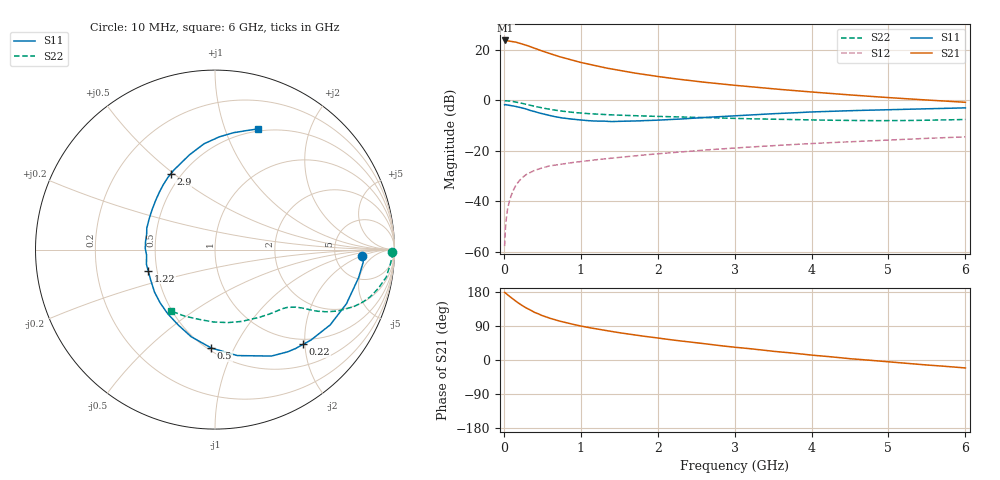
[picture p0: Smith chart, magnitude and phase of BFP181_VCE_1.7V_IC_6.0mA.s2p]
! Infineon Technologies  Discrete & RF Semiconductors
! BFP181
! VCE = 1.7 V,  IC =  6.0 mA
! Common Emitter S-Parameters:  Jan 2016
# GHz  S  MA  R  50
!  f  S11  S21  S12  S22
! GHz  MAG  ANG  MAG  ANG  MAG  ANG  MAG  ANG
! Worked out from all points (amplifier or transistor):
!   210 points, 10 MHz to 6 GHz, reference 50 ohm
!   highest |S21| = 23.8 dB at 20 MHz (marker M1)
!   |S21| within 3 dB of that: start of sweep to 395.1 MHz
!   unconditionally stable (mu >= 1): 1.388 GHz to end of sweep
!   at 185 MHz: K = 0.21, MSG = 27.6 dB, |S12| = -32.4 dB
!   at 1.52 GHz: K = 1.04, MAG = 15.9 dB, |S12| = -22.5 dB
!   at 6 GHz: K = 1.05, MAG = 5.5 dB, |S12| = -14.4 dB
!   S11 on the Smith chart (normalised r, x): 10 MHz: 9.65, -2.02; 220 MHz: 0.89, -1.97; 500 MHz: 0.52, -0.82; 1.22 GHz: 0.45, -0.12; 2.9 GHz: 0.44, +0.49; 6 GHz: 0.48, +1.31
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0.01  0.8195 -2.4  15.31 178.5  0.0013 86.6  0.9873 -0.8
0.02  0.829 -4.8  15.46 177.1  0.0028 89.4  0.989 -1.9
0.06  0.808 -13.3  15.16 170.2  0.0085 83.8  0.9773 -5.5
0.15  0.7667 -33.2  14.41 155.8  0.0202 72.0  0.9364 -13.2
0.2  0.7347 -43.3  13.78 148.8  0.0256 67.5  0.9052 -16.8
0.22  0.7211 -47.0  13.44 146.2  0.0276 66.2  0.8908 -18.0
0.26  0.6983 -54.7  12.85 141.0  0.0314 63.7  0.8626 -20.4
0.3  0.6712 -62.1  12.34 136.4  0.0348 60.7  0.834 -22.5
0.4  0.6034 -78.1  10.88 125.6  0.0412 54.7  0.7668 -26.5
0.5  0.5484 -92.2  9.535 117.1  0.0463 49.7  0.7122 -29.1
0.6  0.5035 -105.2  8.52 110.1  0.0508 47.2  0.6669 -31.0
0.7  0.4674 -116.0  7.554 103.9  0.0534 45.2  0.6314 -32.2
0.82  0.4392 -128.3  6.733 97.7  0.0566 44.0  0.5988 -33.3
1.02  0.4086 -146.4  5.586 88.9  0.0622 42.8  0.561 -35.1
1.22  0.3905 -162.5  4.77 81.5  0.0675 41.5  0.536 -36.8
1.52  0.3885 177.9  3.901 71.4  0.075 41.4  0.5106 -39.4
2.02  0.4088 151.8  2.961 57.5  0.0884 40.0  0.4837 -45.3
2.9  0.4878 120.5  2.069 36.0  0.1117 36.5  0.4465 -58.6
3.1  0.5061 114.8  1.936 31.8  0.117 35.5  0.438 -62.0
4.1  0.5991 94.2  1.434 11.2  0.1428 29.3  0.4098 -82.1
5.1  0.664 79.8  1.115 -6.5  0.1669 23.0  0.3992 -105.1
6  0.7142 70.3  0.921 -21.0  0.1904 16.4  0.4211 -125.9
